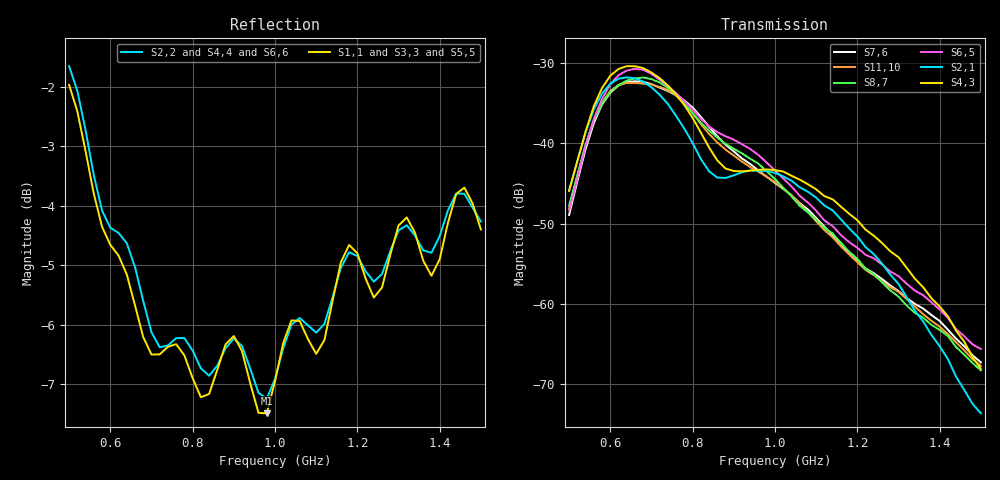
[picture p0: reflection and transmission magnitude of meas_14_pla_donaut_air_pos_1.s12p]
! Converted from meas_14_pla_donaut_air_pos_1.mat
! MATLAB 5.0 MAT-file, Platform: PCWIN64, Created on: Sat Nov 21 15:25:00 2026
! Ports 1-12 = antennas 1-12; IFBW=1000 Hz, power=0 dBm, doCalibration flag=0
! SW_A serial 12410080206: antennas 1 3 5 7 9 11
! SW_B serial 12410080235: antennas 2 4 6 8 10 12
! WARNING: Sij (i!=j) between two odd or two even ports was NOT MEASURED (NaN in source).
! Those entries are written as 0 0 placeholders. Do not treat them as data.
! Reference impedance 50 ohm is assumed (not stored in source).
# Hz S RI R 50
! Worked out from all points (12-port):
!   51 points, 500 MHz to 1.5 GHz, reference 50 ohm
!   strongest paths, dB at 500 MHz, 740 MHz, 1 GHz, 1.26 GHz, 1.5 GHz:
!     S4,3: -45.9, -32.8, -43.3, -52.4, -68.1
!     S2,1: -45.9, -35.1, -43.7, -55.0, -73.6
!     S6,5: -48.4, -32.9, -43.4, -55.1, -65.6
!     S8,7: -47.7, -33.1, -44.4, -57.3, -68.3
!     S11,10: -48.1, -33.4, -44.8, -57.2, -67.7
!     S7,6: -48.9, -33.5, -44.9, -56.9, -67.3
!   lowest |S11| = -7.5 dB at 980 MHz (marker M1), VSWR 2.46, Z = 26.9 - j25.2 ohm
!   |S11| at or under -10 dB: nowhere
